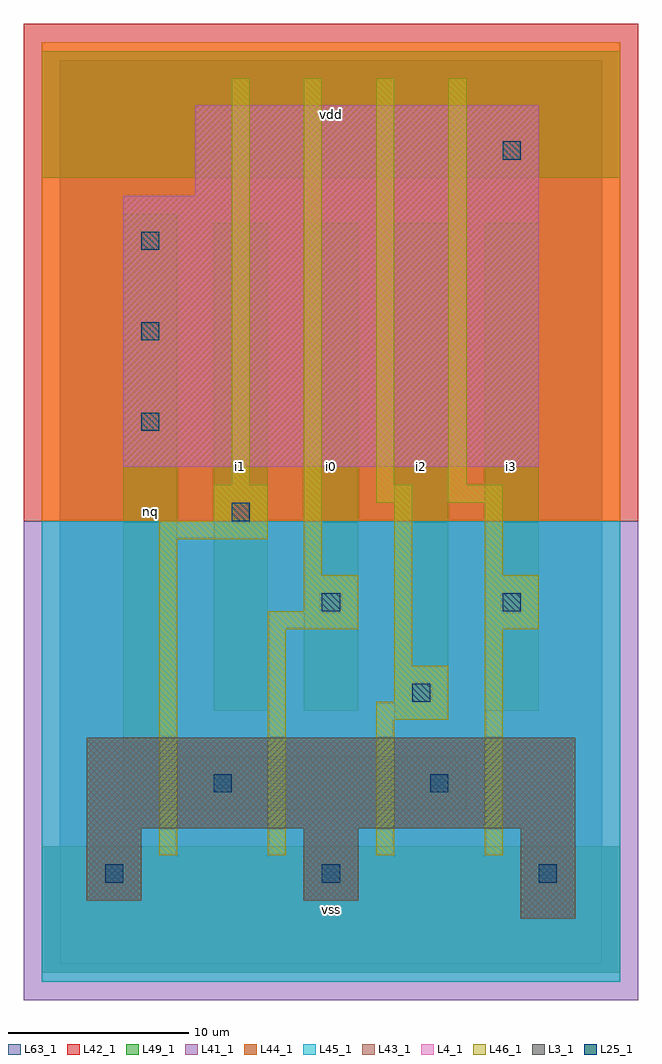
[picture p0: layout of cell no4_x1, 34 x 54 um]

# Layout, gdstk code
import gdstk
lib = gdstk.Library(unit=1e-6, precision=1e-09)
def R(c, l, rs):  # rectangles x0, y0, x1, y1
    for r in rs: c.add(gdstk.rectangle(r[:2], r[2:], *l))
def A(c, l, x, y, w, h, nx, ny, dx, dy):  # array of equal rectangles
    R(c, l, [(x+i*dx, y+j*dy, x+i*dx+w, y+j*dy+h) for i in range(nx) for j in range(ny)])
L3_1 = (3, 1)
L4_1 = (4, 1)
L25_1 = (25, 1)
L41_1 = (41, 1)
L42_1 = (42, 1)
L43_1 = (43, 1)
L44_1 = (44, 1)
L45_1 = (45, 1)
L46_1 = (46, 1)
L49_1 = (49, 1)
L63_1 = (63, 1)

no4_x1 = lib.new_cell('no4_x1')
R(no4_x1, L3_1, [(25.5,2.5,28.5,7.5), (1.5,3.5,4.5,7.5), (13.5,3.5,16.5,7.5), (1.5,7.5,28.5,12.5)])
R(no4_x1, L4_1, [(3.5,27.5,26.5,42.5), (7.5,42.5,26.5,47.5)])
A(no4_x1, L25_1, 2.5, 4.5, 1, 1, 3, 1, 12, 0)
A(no4_x1, L25_1, 4.5, 29.5, 1, 1, 1, 3, 0, 5)
R(no4_x1, L25_1, [(8.5,9.5,9.5,10.5), (20.5,9.5,21.5,10.5), (19.5,14.5,20.5,15.5), (14.5,19.5,15.5,20.5), (24.5,19.5,25.5,20.5), (9.5,24.5,10.5,25.5), (24.5,44.5,25.5,45.5)])
R(no4_x1, L41_1, [(-2,-2,32,24.5)])
R(no4_x1, L42_1, [(-2,24.5,32,52)])
R(no4_x1, L43_1, [(25.5,2.5,28.5,7.5), (1.5,3.5,4.5,7.5), (13.5,3.5,16.5,7.5), (1.5,7.5,28.5,12.5), (3.5,27.5,26.5,42.5), (7.5,42.5,26.5,47.5)])
R(no4_x1, L44_1, [(-1,24.5,31,51)])
R(no4_x1, L45_1, [(-1,-1,31,24.5)])
R(no4_x1, L46_1, [(5.5,6,6.5,23.5), (11.5,6,12.5,18.5), (17.5,6,18.5,13.5), (23.5,6,24.5,18.5), (17.5,13.5,21.5,14.5), (18.5,14.5,21.5,16.5), (18.5,16.5,19.5,25.5), (11.5,18.5,16.5,19.5), (23.5,18.5,26.5,21.5), (13.5,19.5,16.5,21.5), (13.5,21.5,14.5,49), (23.5,21.5,24.5,25.5), (5.5,23.5,11.5,24.5), (8.5,24.5,11.5,26.5), (17.5,25.5,19.5,26.5), (21.5,25.5,24.5,26.5), (9.5,26.5,10.5,49), (17.5,26.5,18.5,49), (21.5,26.5,22.5,49)])
R(no4_x1, L49_1, [(-1,-0.5,31,6.5), (3.5,8.5,22.5,11.5), (3.5,11.5,6.5,41.5), (18.5,13.5,21.5,41), (8.5,14,11.5,41), (13.5,14,16.5,41), (23.5,14,26.5,41), (-1,43.5,31,50.5)])
R(no4_x1, L63_1, [(0,0,30,50)])
no4_x1.add(gdstk.Label('nq', (5,25), layer=49, texttype=1))
no4_x1.add(gdstk.Label('nq', (5,25), layer=49, texttype=1))
no4_x1.add(gdstk.Label('i1', (10,27.5), layer=49, texttype=1))
no4_x1.add(gdstk.Label('i1', (10,27.5), layer=49, texttype=1))
no4_x1.add(gdstk.Label('vss', (15,3), layer=49, texttype=1))
no4_x1.add(gdstk.Label('vss', (15,3), layer=49, texttype=1))
no4_x1.add(gdstk.Label('i0', (15,27.5), layer=49, texttype=1))
no4_x1.add(gdstk.Label('i0', (15,27.5), layer=49, texttype=1))
no4_x1.add(gdstk.Label('i2', (20,27.5), layer=49, texttype=1))
no4_x1.add(gdstk.Label('i2', (20,27.5), layer=49, texttype=1))
no4_x1.add(gdstk.Label('vdd', (15,47), layer=49, texttype=1))
no4_x1.add(gdstk.Label('vdd', (15,47), layer=49, texttype=1))
no4_x1.add(gdstk.Label('i3', (25,27.5), layer=49, texttype=1))
no4_x1.add(gdstk.Label('i3', (25,27.5), layer=49, texttype=1))

lib.write_gds('no4_x1.gds')
